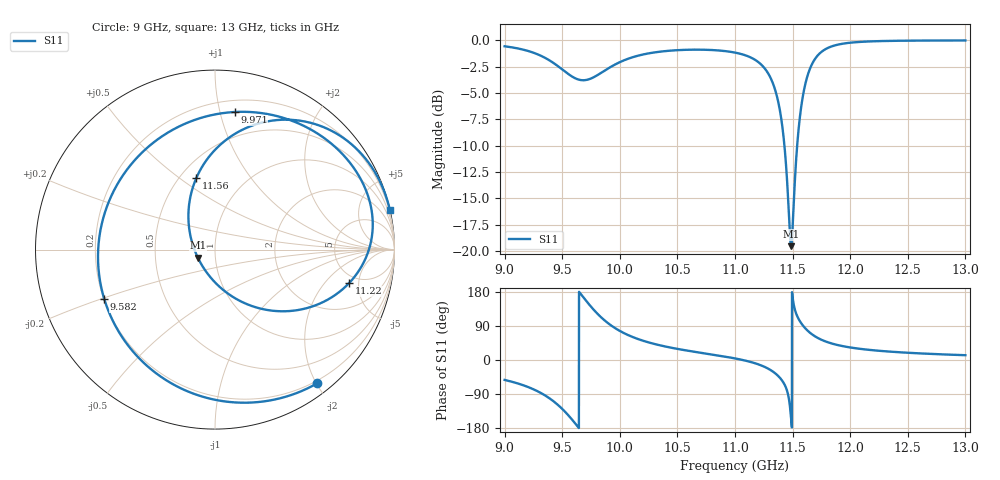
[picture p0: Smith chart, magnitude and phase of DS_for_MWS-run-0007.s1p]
! TOUCHSTONE file generated by CST DESIGN STUDIO
! Date and time: Tue Feb  4 17:20:14 2025
! Project name: C:\Work\MatlabApps\UnitCellOptimizationMatlab\CST\unitcell.cst
! Tree item: Tasks\Sweep1\SPara1\S-Parameters
! Header version: 2024
! Port assignment regex: !\s*Touchstone port\s*([0-9]+)\s*=\s*(CST MWS port|CST DES external port|CST DES block port)\s*(.+)\s* \(\"(.*)\"\)(\s*mode\s*([0-9]+))?.*
! Touchstone port assignment:
! Touchstone port 1 = CST DES external port 1 ("")
# GHz S MA R 50
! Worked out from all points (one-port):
!   4001 points, 9 GHz to 13 GHz, reference 50 ohm
!   lowest |S11| = -19.5 dB at 11.49 GHz (marker M1), VSWR 1.24, Z = 41.1 - j3.75 ohm
!   |S11| at or under -10 dB: 11.43 GHz to 11.54 GHz (110.2 MHz wide, 0.96 % of centre)
!   S11 on the Smith chart (normalised r, x): 9 GHz: 0.16, -2.01; 9.582 GHz: 0.20, -0.20; 9.971 GHz: 0.29, +1.11; 11.22 GHz: 4.16, -3.80; 11.56 GHz: 0.60, +0.58; 13 GHz: 0.03, +9.03
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9  0.9376 -52.6
9.162  0.9035 -66.6
9.314  0.8459 -86.9
9.412  0.7895 -106.0
9.5  0.7285 -129.0
9.582  0.6756 -156.0
9.68  0.647 166.8
9.791  0.6767 126.8
9.876  0.723 102.5
9.971  0.7744 81.9
10  0.7883 76.7
10.218  0.8609 49.3
10.5  0.8986 29.3
11  0.8751 4.2
11.224  0.771 -13.9
11.311  0.6599 -26.9
11.387  0.4745 -46.0
11.438  0.2786 -69.8
11.473  0.1311 -112.9
11.487  0.1056 -154.7
11.5  0.1298 165.5
11.559  0.4125 104.6
11.618  0.6456 81.1
11.685  0.8013 64.3
11.816  0.9261 45.8
12  0.9749 33.1
12.5  0.9969 19.1
13  0.9992 12.6
